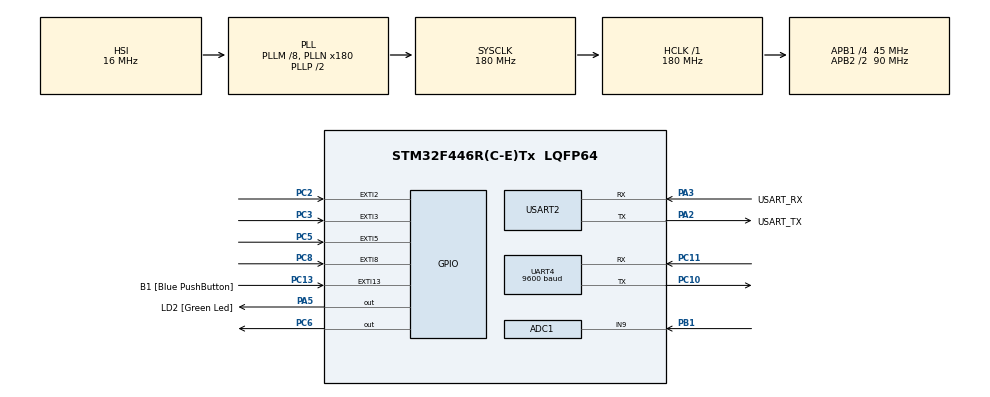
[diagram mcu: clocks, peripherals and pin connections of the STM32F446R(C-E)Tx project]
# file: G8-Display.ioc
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ADC1.Channel-22\#ChannelRegularConversion=ADC_CHANNEL_9
ADC1.NbrOfConversionFlag=1
ADC1.Rank-22\#ChannelRegularConversion=1
ADC1.SamplingTime-22\#ChannelRegularConversion=ADC_SAMPLETIME_3CYCLES
ADC1.master=1
Mcu.Family=STM32F4
Mcu.Name=STM32F446R(C-E)Tx
Mcu.Package=LQFP64
NVIC.EXTI15_10_IRQn=true\:0\:0\:false\:false\:true\:true
NVIC.EXTI9_5_IRQn=true\:0\:0\:false\:false\:true\:true
NVIC.PriorityGroup=NVIC_PRIORITYGROUP_0
PA13.GPIO_Label=TMS
PA13.Mode=Serial_Wire
PA13.Signal=SYS_JTMS-SWDIO
PA14.GPIO_Label=TCK
PA14.Mode=Serial_Wire
PA14.Signal=SYS_JTCK-SWCLK
PA2.GPIO_Label=USART_TX
PA2.Mode=Asynchronous
PA2.Signal=USART2_TX
PA3.GPIO_Label=USART_RX
PA3.Mode=Asynchronous
PA3.Signal=USART2_RX
PA5.GPIO_Label=LD2 [Green Led]
PA5.Signal=GPIO_Output
PB1.Signal=ADCx_IN9
PB3.GPIO_Label=SWO
PB3.Signal=SYS_JTDO-SWO
PC10.Mode=Asynchronous
PC10.Signal=UART4_TX
PC11.Mode=Asynchronous
PC11.Signal=UART4_RX
PC13.GPIO_Label=B1 [Blue PushButton]
PC13.GPIO_ModeDefaultEXTI=GPIO_MODE_IT_FALLING
PC13.Signal=GPXTI13
PC14-OSC32_IN.Signal=RCC_OSC32_IN
PC15-OSC32_OUT.Signal=RCC_OSC32_OUT
PC2.GPIO_ModeDefaultEXTI=GPIO_MODE_IT_FALLING
PC2.GPIO_PuPd=GPIO_NOPULL
PC2.Signal=GPXTI2
PC3.GPIO_ModeDefaultEXTI=GPIO_MODE_IT_FALLING
PC3.GPIO_PuPd=GPIO_NOPULL
PC3.Signal=GPXTI3
PC5.GPIO_ModeDefaultEXTI=GPIO_MODE_IT_FALLING
PC5.GPIO_PuPd=GPIO_NOPULL
PC5.Signal=GPXTI5
PC6.Signal=GPIO_Output
PC8.GPIO_ModeDefaultEXTI=GPIO_MODE_IT_FALLING
PC8.GPIO_PuPd=GPIO_NOPULL
PC8.Signal=GPXTI8
PH0-OSC_IN.Mode=HSE-External-Clock-Source
PH0-OSC_IN.Signal=RCC_OSC_IN
PH1-OSC_OUT.Mode=HSE-External-Clock-Source
PH1-OSC_OUT.Signal=RCC_OSC_OUT
ProjectManager.HeapSize=0x200
ProjectManager.StackSize=0x400
ProjectManager.TargetToolchain=SW4STM32
RCC.48MHZClocksFreq_Value=84000000
RCC.AHBFreq_Value=180000000
RCC.APB1CLKDivider=RCC_HCLK_DIV4
RCC.APB1Freq_Value=45000000
RCC.APB1TimFreq_Value=90000000
RCC.APB2CLKDivider=RCC_HCLK_DIV2
RCC.APB2Freq_Value=90000000
RCC.APB2TimFreq_Value=180000000
RCC.CortexFreq_Value=180000000
RCC.FLatency-AdvancedSettings=FLASH_LATENCY_5
RCC.HCLKFreq_Value=180000000
RCC.HSE_VALUE=8000000
RCC.HSI_VALUE=16000000
RCC.PLLM=8
RCC.PLLN=180
RCC.SYSCLKFreq_VALUE=180000000
RCC.SYSCLKSource=RCC_SYSCLKSOURCE_PLLCLK
RCC.USBFreq_Value=180000000
RCC.VCOOutputFreq_Value=360000000
SH.ADCx_IN9.0=ADC1_IN9,IN9
TIM3.TIM_MasterOutputTrigger=TIM_TRGO_UPDATE
UART4.BaudRate=9600
UART4.VirtualMode=Asynchronous
USART2.VirtualMode=VM_ASYNC
VP_TIM3_VS_ClockSourceINT.Mode=Internal
board=NUCLEO-F446RE

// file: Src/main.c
/**
  ******************************************************************************
  * @file           : main.c
  * @brief          : Main program body
  ******************************************************************************
  ** This notice applies to any and all portions of this file
  * that are not between comment pairs USER CODE BEGIN and
  * USER CODE END. Other portions of this file, whether
  * inserted by the user or by software development tools
  * are owned by their respective copyright owners.
  *
  * COPYRIGHT(c) 2018 STMicroelectronics
  *
  * Redistribution and use in source and binary forms, with or without modification,
  * are permitted provided that the following conditions are met:
  *   1. Redistributions of source code must retain the above copyright notice,
  *      this list of conditions and the following disclaimer.
  *   2. Redistributions in binary form must reproduce the above copyright notice,
  *      this list of conditions and the following disclaimer in the documentation
  *      and/or other materials provided with the distribution.
  *   3. Neither the name of STMicroelectronics nor the names of its contributors
  *      may be used to endorse or promote products derived from this software
  *      without specific prior written permission.
  *
  * THIS SOFTWARE IS PROVIDED BY THE COPYRIGHT HOLDERS AND CONTRIBUTORS "AS IS"
  * AND ANY EXPRESS OR IMPLIED WARRANTIES, INCLUDING, BUT NOT LIMITED TO, THE
  * IMPLIED WARRANTIES OF MERCHANTABILITY AND FITNESS FOR A PARTICULAR PURPOSE ARE
  * DISCLAIMED. IN NO EVENT SHALL THE COPYRIGHT HOLDER OR CONTRIBUTORS BE LIABLE
  * FOR ANY DIRECT, INDIRECT, INCIDENTAL, SPECIAL, EXEMPLARY, OR CONSEQUENTIAL
  * DAMAGES (INCLUDING, BUT NOT LIMITED TO, PROCUREMENT OF SUBSTITUTE GOODS OR
  * SERVICES; LOSS OF USE, DATA, OR PROFITS; OR BUSINESS INTERRUPTION) HOWEVER
  * CAUSED AND ON ANY THEORY OF LIABILITY, WHETHER IN CONTRACT, STRICT LIABILITY,
  * OR TORT (INCLUDING NEGLIGENCE OR OTHERWISE) ARISING IN ANY WAY OUT OF THE USE
  * OF THIS SOFTWARE, EVEN IF ADVISED OF THE POSSIBILITY OF SUCH DAMAGE.
  *
  ******************************************************************************
  */
#include "main.h"
#include "stm32f4xx_hal.h"
#include "adc.h"
#include "tim.h"
#include "usart.h"
#include "gpio.h"

/* USER CODE BEGIN Includes */
#include "lcd.h"
#include "string.h"
/* USER CODE END Includes */

/* USER CODE BEGIN PV */
/* Private variables ---------------------------------------------------------*/
const uint16_t maxHeight = 240;
const uint16_t maxWidth = 320;
const uint16_t minHeight = 0;
const uint16_t minWidth = 0;
/* USER CODE END PV */

void SystemClock_Config(void);

/* USER CODE BEGIN PFP */
/* Private function prototypes -----------------------------------------------*/
void MoveRectClick(uint16_t* startX, uint16_t* startY, uint16_t height, uint16_t width, uint16_t move);
void MoveBall(int16_t* ballX, int16_t* ballY, uint16_t radius, int16_t* moveX, int16_t* moveY);
void MoveRectPress(uint16_t* startX, uint16_t* startY, uint16_t height, uint16_t width, uint16_t move);
void MoveRectTouch(void);
void MoveRect(uint16_t* startX, uint16_t* startY, uint16_t height, uint16_t width, uint16_t move);
void LooseGame(void);
void ChangeDirection(int16_t ballX, int16_t ballY, uint16_t radius, int16_t* moveX, int16_t* moveY);
uint8_t IsExit(int16_t* ballX, int16_t* ballY, uint16_t radius, int16_t boardX, int16_t boardY, int16_t* moveX, int16_t* moveY);
//uint8_t ChangeDirection(int16_t coordX, int16_t coordY, uint16_t boardX, uint16_t boardY, int16_t* moveX, int16_t* moveY);
/* USER CODE END PFP */

int main(void)
{

  /* MCU Configuration----------------------------------------------------------*/

  /* Reset of all peripherals, Initializes the Flash interface and the Systick. */
  HAL_Init();

  /* Configure the system clock */
  SystemClock_Config();

  /* Initialize all configured peripherals */
  MX_GPIO_Init();
  MX_USART2_UART_Init();
  MX_TIM3_Init();
  MX_ADC1_Init();
  MX_UART4_Init();
  /* USER CODE BEGIN 2 */
  LCD_Init();
  //PrintHello();

  /* USER CODE END 2 */

  /* Infinite loop */
  /* USER CODE BEGIN WHILE */

  uint8_t left[] = "l\r\n";
  uint8_t right[] = "r\r\n";
  uint8_t command[3] = {0};
  uint8_t cmdSize = sizeof(command);
  uint8_t restart[5] = {0};
  uint8_t counterCMD = 0;
  uint8_t counterRST = 0;
  uint16_t move = 0;
  int16_t moveX = 10;
  int16_t moveY = 10;
  uint16_t width = 40;
  uint16_t height = 10;
  uint16_t boardX = 100;
  uint16_t boardY = maxWidth - height;
  int16_t ballX = 118;
  int16_t ballY = 158;
  uint16_t radius = 2;

  LCD_SetCursor(0, 0);
  LCD_FillCircle(ballX, ballY, radius, RED);
  LCD_FillRect(boardX, boardY, width, height, BLUE);

  while (1)
  {
	  //MoveRectClick(&boardX, &boardY, height, width, move);
	  command[0] = '\0';
	  counterCMD = 0;
	  while (counterCMD < cmdSize )
	  	  {
	  		  if (HAL_UART_Receive(&huart4, command+counterCMD, 1, 10) == HAL_OK)
	  		  {
	  			  if ( command[counterCMD] == '\n' )
	  			  {

	  				  HAL_UART_Abort(&huart4);
	  				  break;
	  			  }
	  		  	  ++counterCMD;
	  		  }
	  	  }
	  	  size_t read_size = strlen((char *) command);
	  	  LCD_Printf("Read: %d\n", read_size);

	  	if ( read_size > 0 )
	  	{
	  		LCD_Printf("Received: %s\n", command);

	  		if (strcmp(left, command) == 0 )
	  			move = -15;
	  		if (strcmp(right, command) == 0 )
	  			move = 15;

	  	  MoveRect(&boardX, &boardY, height, width, move);
	  	}

	  MoveBall(&ballX, &ballY, radius, &moveX, &moveY);
	  if ( IsExit(&ballX, &ballY, radius, boardX, boardY, &moveX, &moveY) )
	  {
		  LooseGame();
		  break;
	  }
  /* USER CODE END WHILE */

  }

}

void SystemClock_Config(void)
{

  RCC_OscInitTypeDef RCC_OscInitStruct;
  RCC_ClkInitTypeDef RCC_ClkInitStruct;

    /**Configure the main internal regulator output voltage
    */
  __HAL_RCC_PWR_CLK_ENABLE();

  __HAL_PWR_VOLTAGESCALING_CONFIG(PWR_REGULATOR_VOLTAGE_SCALE1);

    /**Initializes the CPU, AHB and APB busses clocks
    */
  RCC_OscInitStruct.OscillatorType = RCC_OSCILLATORTYPE_HSI;
  RCC_OscInitStruct.HSIState = RCC_HSI_ON;
  RCC_OscInitStruct.HSICalibrationValue = 16;
  RCC_OscInitStruct.PLL.PLLState = RCC_PLL_ON;
  RCC_OscInitStruct.PLL.PLLSource = RCC_PLLSOURCE_HSI;
  RCC_OscInitStruct.PLL.PLLM = 8;
  RCC_OscInitStruct.PLL.PLLN = 180;
  RCC_OscInitStruct.PLL.PLLP = RCC_PLLP_DIV2;
  RCC_OscInitStruct.PLL.PLLQ = 2;
  RCC_OscInitStruct.PLL.PLLR = 2;
  if (HAL_RCC_OscConfig(&RCC_OscInitStruct) != HAL_OK)
  {
    _Error_Handler(__FILE__, __LINE__);
  }

    /**Activate the Over-Drive mode
    */
  if (HAL_PWREx_EnableOverDrive() != HAL_OK)
  {
    _Error_Handler(__FILE__, __LINE__);
  }

    /**Initializes the CPU, AHB and APB busses clocks
    */
  RCC_ClkInitStruct.ClockType = RCC_CLOCKTYPE_HCLK|RCC_CLOCKTYPE_SYSCLK
                              |RCC_CLOCKTYPE_PCLK1|RCC_CLOCKTYPE_PCLK2;
  RCC_ClkInitStruct.SYSCLKSource = RCC_SYSCLKSOURCE_PLLCLK;
  RCC_ClkInitStruct.AHBCLKDivider = RCC_SYSCLK_DIV1;
  RCC_ClkInitStruct.APB1CLKDivider = RCC_HCLK_DIV4;
  RCC_ClkInitStruct.APB2CLKDivider = RCC_HCLK_DIV2;

  if (HAL_RCC_ClockConfig(&RCC_ClkInitStruct, FLASH_LATENCY_5) != HAL_OK)
  {
    _Error_Handler(__FILE__, __LINE__);
  }

    /**Configure the Systick interrupt time
    */
  HAL_SYSTICK_Config(HAL_RCC_GetHCLKFreq()/1000);

    /**Configure the Systick
    */
  HAL_SYSTICK_CLKSourceConfig(SYSTICK_CLKSOURCE_HCLK);

  /* SysTick_IRQn interrupt configuration */
  HAL_NVIC_SetPriority(SysTick_IRQn, 0, 0);
}

/* USER CODE BEGIN 4 */
uint8_t IsExit(int16_t* ballX, int16_t* ballY, uint16_t radius, int16_t boardX, int16_t boardY, int16_t* moveX, int16_t* moveY)
{
	uint16_t width = 40;
	uint16_t height = 10;
	uint8_t result = 0;

	if ( *ballX >= maxHeight /*&& *ballY < (maxWidth - 2 * radius)*/ )
	{
		*ballX = maxHeight - 2 * radius;
		*moveX *= -1;
	}

	if ( *ballX <= minHeight /*&& *ballY < (maxWidth - 2 * radius)*/ )
	{
		*ballX = minHeight;
		*moveX *= -1;
	}

	if ( *ballY <= minWidth )
	{
		*ballY = minWidth;
		*moveY *= -1;
	}

	if ( ((*ballX == (boardX + width)) || ((*ballX + 2 * radius) == boardX)) && ((*ballY + 2 * radius) >= boardY) )
	{
		*moveX *= -1;
		*moveY *= -1;
	} else if ( (*ballX + 2 * radius) > boardX && *ballX < (boardX + width) && (*ballY + 2 * radius) >= boardY )
	{
		*ballY = boardY - 2 * radius;
		*moveY *= -1;
	}

	if ( *ballY >= maxWidth )
		result = 1;

	LCD_FillCircle(*ballX, *ballY, radius, RED);
	HAL_Delay(200);

	return result;
}

void ChangeDirection(int16_t ballX, int16_t ballY, uint16_t radius, int16_t* moveX, int16_t* moveY)
{
	//uint16_t width = 40;
	uint16_t height = 10;

	if ( ballX >= maxHeight || ballX <= minHeight )
		*moveX *= -1;

	//if ( (coordY >= boardY && (coordX >= boardX && coordX <= boardX + width) ) || coordY <= minWidth )
	if ( (ballY >= maxWidth - height - 2 * radius ) || ballY <= minWidth )
		*moveY *= -1;
}

void MoveBall(int16_t* ballX, int16_t* ballY, uint16_t radius, int16_t* moveX, int16_t* moveY)
{
	LCD_FillCircle(*ballX, *ballY, radius, BLACK);
	*ballX += *moveX;
	*ballY += *moveY;

	//ChangeDirection(*ballX, *ballY, moveX, moveY);

//	if ( *ballX >= maxHeight )
//		*ballX = maxHeight - 2 * radius;
//	if ( *ballX < minHeight )
//		*ballX = minHeight;
//	if ( *ballY > maxWidth - 2 * radius )
//		*ballY = maxWidth - 2 * radius;
//	if ( *ballY < minWidth )
//		*ballY = minWidth;

	//LCD_FillCircle(*ballX, *ballY, radius, RED);
	//HAL_Delay(200);
}

void LooseGame(void)
{
	LCD_FillScreen(BLACK);
	LCD_SetCursor(100, 160);
	LCD_Printf("Looser!!!");
	//break;
}

void MoveRectClick(uint16_t* startX, uint16_t* startY, uint16_t height, uint16_t width, uint16_t move)
{
//  uint16_t startX = 30;
//  uint16_t startY = 60;
//  uint16_t move = 10;
//  uint16_t width = 40;
//  uint16_t height = 15;

  GPIO_PinState btn1 = GPIO_PIN_RESET;
  GPIO_PinState btn2 = GPIO_PIN_RESET;
  GPIO_PinState btn3 = GPIO_PIN_RESET;
  GPIO_PinState btn4 = GPIO_PIN_RESET;

	btn1 = HAL_GPIO_ReadPin(GPIOC, GPIO_PIN_3);
	btn2 = HAL_GPIO_ReadPin(GPIOC, GPIO_PIN_2);
	btn3 = HAL_GPIO_ReadPin(GPIOC, GPIO_PIN_5);
	btn4 = HAL_GPIO_ReadPin(GPIOC, GPIO_PIN_1);

	if ( btn1 == GPIO_PIN_SET )
	{
	  LCD_FillRect(*startX, *startY, width, height, BLACK);
	  *startX += move;
	  if ( *startX > maxHeight - width )
		  *startX = maxHeight - width;

	  LCD_FillRect(*startX, *startY, width, height, BLUE);
	  HAL_Delay(100);
	  btn1 = GPIO_PIN_RESET;
	}

	if ( btn2 == GPIO_PIN_SET )
	{
	  LCD_FillRect(*startX, *startY, width, height, BLACK);

	  //if ( *startX < move )
	  if ( *startX < minHeight )
		  *startX = minHeight;
		  //*startX = maxHeight - width;
	  else
		  *startX -= move;

	  LCD_FillRect(*startX, *startY, width, height, BLUE);
	  HAL_Delay(100);
	  btn2 = GPIO_PIN_RESET;
	}

	if ( btn3 == GPIO_PIN_SET )
	{
	  LCD_FillRect(*startX, *startY, width, height, BLACK);
	  *startY += move;
	  if ( *startY > maxWidth - height )
		  *startY = minWidth;

	  LCD_FillRect(*startX, *startY, width, height, BLUE);
	  HAL_Delay(200);
	  btn3 = GPIO_PIN_RESET;
	}

//	if ( btn4 == GPIO_PIN_SET )
//	{
//	  LCD_FillRect(*startX, *startY, width, height, BLACK);
//
//	  if ( *startY < move )
//		  *startY = minWidth;
//	  else
//		  *startY -= move;
//
//	  LCD_FillRect(*startX, *startY, width, height, BLUE);
//	  HAL_Delay(200);
//	  btn4 = GPIO_PIN_RESET;
//	}
}

void MoveRectPress(uint16_t* startX, uint16_t* startY, uint16_t height, uint16_t width, uint16_t move)
{
	if ( HAL_GPIO_ReadPin(GPIOC, GPIO_PIN_3) == GPIO_PIN_SET )
	{
		LCD_FillRect(*startX, *startY, width, height, BLACK);
		*startX += move;
		if ( *startX > maxHeight - width )
			*startX = minHeight;

		LCD_FillRect(*startX, *startY, width, height, BLUE);
		HAL_Delay(50);
	}

	if ( HAL_GPIO_ReadPin(GPIOC, GPIO_PIN_2) == GPIO_PIN_SET )
	{
		LCD_FillRect(*startX, *startY, width, height, BLACK);

		if ( *startX < move )
			*startX = maxHeight - width;
		else
			*startX -= move;

		LCD_FillRect(*startX, *startY, width, height, BLUE);
		HAL_Delay(50);
	}

	if ( HAL_GPIO_ReadPin(GPIOC, GPIO_PIN_5) == GPIO_PIN_SET )
	{
		LCD_FillRect(*startX, *startY, width, height, BLACK);
		*startY += move;
		if ( *startY > maxWidth - height )
			*startY = minWidth;

		LCD_FillRect(*startX, *startY, width, height, BLUE);
		HAL_Delay(50);
	}

	//	if ( HAL_GPIO_ReadPin(GPIOC, GPIO_PIN_1) == GPIO_PIN_SET )
	//	{
	//	  LCD_FillRect(*startX, *startY, width, height, BLACK);
	//
	//	  if ( *startY < move )
	//		  *startY = minWidth;
	//	  else
	//		  *startY -= move;
	//
	//	  LCD_FillRect(*startX, *startY, width, height, BLUE);
	//	  HAL_Delay(50);
	//	}
}

void MoveRectTouch(void)
{

}

void MoveRect(uint16_t* startX, uint16_t* startY, uint16_t height, uint16_t width, uint16_t move)
{
	  LCD_FillRect(*startX, *startY, width, height, BLACK);
	  *startX += move;
	  if ( *startX > maxHeight - width )
		  *startX = maxHeight - width;
	  if ( *startX < minHeight )
		  *startX = minHeight;

	  LCD_FillRect(*startX, *startY, width, height, BLUE);
	  HAL_Delay(100);
}
/* USER CODE END 4 */

void _Error_Handler(char *file, int line)
{
  while(1)
  {
  }
}

/************************ (C) COPYRIGHT STMicroelectronics *****END OF FILE****/
